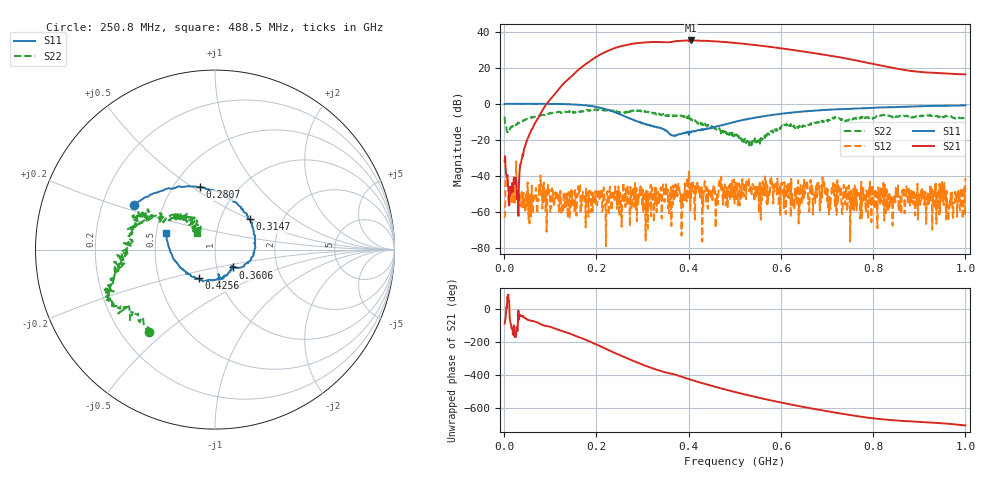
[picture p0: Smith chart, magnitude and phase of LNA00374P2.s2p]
! Created with skrf 1.9.0 (http://scikit-rf.org).
# Hz S RI R 50.0
!freq ReS11 ImS11 ReS21 ImS21 ReS12 ImS12 ReS22 ImS22
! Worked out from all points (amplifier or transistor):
!   1001 points, 1 MHz to 1 GHz, reference 50 ohm
!   highest |S21| = 35.1 dB at 404.6 MHz (marker M1)
!   |S21| within 3 dB of that: 256.3 MHz to 559 MHz (302.8 MHz wide, 74.3 % of centre)
!   unconditionally stable (mu >= 1): 4.298 MHz to 72.58 MHz; 283.8 MHz to 400.4 MHz; 401.1 MHz to end of sweep (the widest 3 of 36)
!   at 166.8 MHz: K = 1.79, MAG = 30.4 dB, |S12| = -51.1 dB
!   at 500.5 MHz: K = 1.93, MAG = 34.3 dB, |S12| = -46.0 dB
!   at 1 GHz: K = 1.60, MAG = 24.2 dB, |S12| = -41.1 dB
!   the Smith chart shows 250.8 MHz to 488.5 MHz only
!   S11 on the Smith chart (normalised r, x): 250.8 MHz: 0.34, +0.23; 280.7 MHz: 0.67, +0.54; 314.7 MHz: 1.37, +0.50; 360.6 MHz: 1.20, -0.24; 425.6 MHz: 0.80, -0.26; 488.5 MHz: 0.56, +0.12
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1000000  0.9829 0.0122  -0.000195 -0.0255  -0.000394 -0.000566  0.3413 0.2803
1.07893e8  0.5157 -0.8515  -0.8198 -1.55  0.00101 -0.000974  0.4235 -0.3801
1.67833e8  -0.2593 -0.8926  -10.34 -0.2689  0.00142 0.000413  0.0346 -0.6246
2.11789e8  -0.6842 -0.3212  -14.97 19.29  -0.00146 -0.00426  -0.2039 -0.6349
2.29771e8  -0.6516 -0.0205  -7.786 30.11  -0.0042 -0.00276  -0.3007 -0.602
2.5075e8  -0.4486 0.2502  8.075 37.71  -0.00262 -0.00227  -0.3688 -0.4583
2.8072e8  -0.0837 0.3478  34.35 31.33  -0.00439 0.000362  -0.5661 -0.3008
3.14686e8  0.1931 0.1694  50.79 4.405  -0.00205 0.00309  -0.5558 -0.1351
3.34666e8  0.2201 0.000666  49.98 -12.57  0.00273 0.0012  -0.5218 -0.0596
3.6064e8  0.1013 -0.0993  43.13 -27.89  -0.00124 0.00251  -0.4629 0.0994
3.79621e8  0.0901 -0.1131  36.94 -41.42  0.000176 0.00427  -0.4376 0.1823
4.04596e8  0.018 -0.1667  18.6 -53.74  -0.00416 0.00436  -0.3195 0.1922
4.25575e8  -0.0893 -0.1603  1.248 -55.93  0.00133 -0.00176  -0.2345 0.1927
4.55545e8  -0.211 -0.0743  -20.66 -49.61  0.00266 -0.00366  -0.1011 0.1754
4.88512e8  -0.2714 0.095  -36.61 -34.26  0.00394 -0.000782  -0.102 0.0903
5.005e8  -0.2698 0.159  -40.33 -27.6  -0.00498 0.000688  -0.1036 0.0955
5.38462e8  -0.1828 0.3549  -42.86 -6.527  0.00597 0.000554  -0.0828 -0.00551
5.84416e8  0.0229 0.4994  -34.63 12.59  0.00284 -0.00501  -0.1674 -0.063
6.67333e8  0.4144 0.4869  -10.46 23.45  0.000387 -0.00316  -0.2816 -0.0473
7.47253e8  0.6659 0.2866  4.173 16.89  -0.00232 -0.00496  -0.3575 0.0415
8.34166e8  0.7983 0.0177  7.335 7.414  -0.00223 -0.000638  -0.4269 0.1779
1e9  0.7294 -0.5316  6.422 1.311  -0.0088 -0.000818  -0.0987 0.3877
